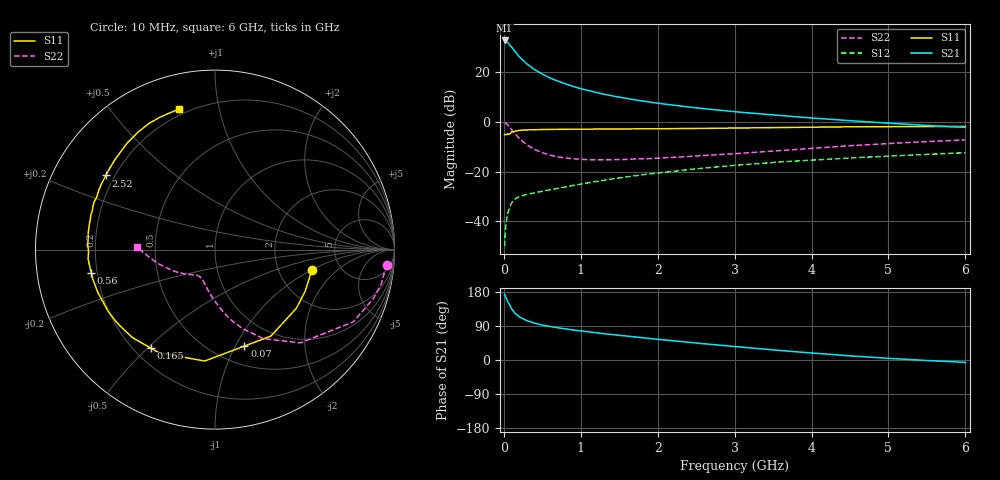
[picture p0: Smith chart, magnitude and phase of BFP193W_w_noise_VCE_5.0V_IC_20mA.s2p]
! Infineon Technologies  Discrete & RF Semiconductors
! BFP193W
! VCE = 5.0 V,  IC =  20 mA
! Common Emitter S-Parameters:  Jan 2016
# GHz  S  MA  R  50
!  f  S11  S21  S12  S22
! GHz  MAG  ANG  MAG  ANG  MAG  ANG  MAG  ANG
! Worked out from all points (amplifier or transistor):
!   210 points, 10 MHz to 6 GHz, reference 50 ohm
!   highest |S21| = 32.6 dB at 10 MHz (marker M1)
!   |S21| within 3 dB of that: start of sweep to 109.1 MHz
!   unconditionally stable (mu >= 1): 980.6 MHz to 4.306 GHz
!   at 185 MHz: K = 0.33, MSG = 28.5 dB, |S12| = -30.3 dB
!   at 1.52 GHz: K = 1.10, MAG = 14.2 dB, |S12| = -22.4 dB
!   at 6 GHz: K = 0.94, MSG = 5.1 dB, |S12| = -12.4 dB
!   lowest NFmin = 1.40 dB at 450 MHz
!   S11 on the Smith chart (normalised r, x): 10 MHz: 3.08, -1.02; 70 MHz: 0.69, -1.09; 165 MHz: 0.27, -0.51; 560 MHz: 0.18, -0.09; 2.52 GHz: 0.17, +0.30; 6 GHz: 0.17, +0.76
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0.01  0.5513 -12.1  42.76 173.4  0.0032 89.2  0.9597 -5.0
0.02  0.5535 -24.5  42.51 168.8  0.0065 78.3  0.9461 -11.7
0.03  0.5589 -35.9  41.62 163.6  0.0093 78.1  0.924 -17.1
0.05  0.5737 -57.2  39.1 153.8  0.0146 67.7  0.8694 -27.6
0.07  0.562 -73.1  35.64 147.2  0.018 60.0  0.7922 -34.6
0.1  0.6235 -95.3  31.55 134.9  0.0236 52.9  0.7042 -47.6
0.15  0.6542 -118.5  25.08 122.1  0.0286 45.3  0.5646 -61.5
0.165  0.655 -123.0  23.6 120.0  0.0294 44.0  0.5332 -63.9
0.2  0.6721 -133.1  20.3 113.9  0.0314 41.3  0.4646 -70.9
0.24  0.6784 -141.0  17.63 109.4  0.0329 39.7  0.4092 -76.3
0.3  0.6875 -150.1  14.43 103.7  0.0352 38.4  0.3426 -83.3
0.4  0.6949 -159.8  11.12 97.0  0.0375 38.8  0.278 -91.6
0.56  0.7014 -169.5  8.15 90.0  0.0421 41.7  0.2244 -100.8
0.8  0.7044 -179.0  5.736 82.0  0.0494 46.2  0.1877 -110.2
1.02  0.7097 174.9  4.528 76.3  0.0569 49.1  0.1763 -116.5
1.4  0.7149 166.3  3.33 67.3  0.0709 52.1  0.1736 -123.4
2.02  0.7247 154.0  2.335 54.2  0.095 53.3  0.1877 -131.3
2.52  0.7349 145.8  1.888 44.5  0.1145 51.9  0.2063 -138.3
3.1  0.7519 136.5  1.544 33.9  0.1373 49.3  0.2347 -146.6
4.1  0.7836 122.4  1.162 17.0  0.1742 43.4  0.2997 -161.7
5.1  0.7991 111.8  0.916 3.3  0.2083 37.5  0.3731 -174.1
6  0.8072 104.5  0.773 -6.4  0.2398 32.4  0.434 178.2
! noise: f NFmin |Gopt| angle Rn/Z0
0.45  1.4  0.3  160  0.1
0.9  1.45  0.34  172  0.11
1.8  2.2  0.56  -148  0.2
